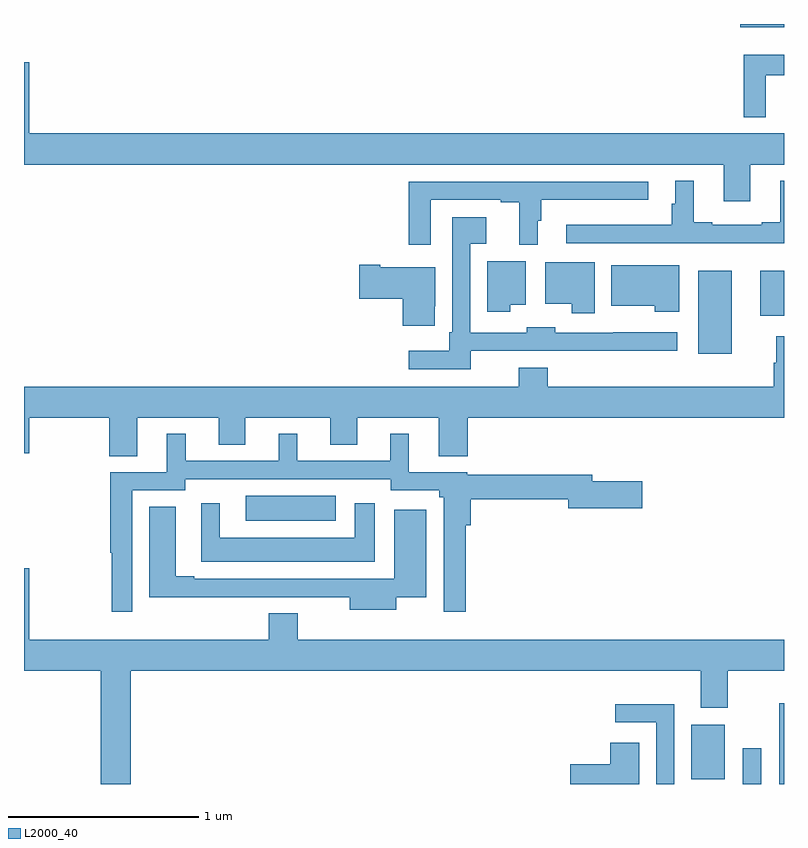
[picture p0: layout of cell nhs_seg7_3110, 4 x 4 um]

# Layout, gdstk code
import gdstk
lib = gdstk.Library(unit=1e-6, precision=1e-09)
def R(c, l, rs):  # rectangles x0, y0, x1, y1
    for r in rs: c.add(gdstk.rectangle(r[:2], r[2:], *l))
def P(c, l, *ps):  # polygons
    for p in ps: c.add(gdstk.Polygon(p, *l))
L2000_40 = (2000, 40)

nhs_seg7_3110 = lib.new_cell('nhs_seg7_3110')
R(nhs_seg7_3110, L2000_40, [(312.783,1020,312.879,1020.187), (312.974,1020,313,1020.424), (312.512,1020.026,312.688,1020.313), (310.167,1021.385,310.642,1021.516), (312.548,1022.264,312.724,1022.701), (312.875,1022.465,313,1022.701), (312.77,1023.983,313,1024)])
P(nhs_seg7_3110, L2000_40, [(312.904,1023.729),(313,1023.729),(313,1023.838),(312.787,1023.838),(312.787,1023.509),(312.904,1023.509)],
  [(312.823,1023.26),(313,1023.26),(313,1023.424),(309.028,1023.424),(309.028,1023.799),(309,1023.799),(309,1023.26),(312.683,1023.26),(312.683,1023.066),(312.823,1023.066)],
  [(313,1023.175),(312.98,1023.175),(312.98,1022.956),(312.884,1022.956),(312.884,1022.943),(312.622,1022.943),(312.622,1022.956),(312.526,1022.956),(312.526,1023.175),(312.428,1023.175),(312.428,1023.054),(312.409,1023.054),(312.409,1022.944),(311.853,1022.944),(311.853,1022.847),(312.552,1022.847),(312.552,1022.846),(313,1022.846)],
  [(311.142,1023.075),(311.51,1023.075),(311.51,1023.063),(311.606,1023.063),(311.606,1022.838),(311.704,1022.838),(311.704,1022.964),(311.723,1022.964),(311.723,1023.074),(312.286,1023.074),(312.286,1023.171),(311.026,1023.171),(311.026,1022.838),(311.142,1022.838)],
  [(311.352,1022.279),(312.439,1022.279),(312.439,1022.377),(312.1,1022.377),(312.1,1022.376),(311.796,1022.376),(311.796,1022.404),(311.646,1022.404),(311.646,1022.376),(311.349,1022.376),(311.349,1022.843),(311.434,1022.843),(311.434,1022.983),(311.253,1022.983),(311.253,1022.377),(311.237,1022.377),(311.237,1022.281),(311.025,1022.281),(311.025,1022.184),(311.352,1022.184)],
  [(311.56,1022.522),(311.641,1022.522),(311.641,1022.752),(311.438,1022.752),(311.438,1022.486),(311.56,1022.486)],
  [(312.004,1022.746),(311.744,1022.746),(311.744,1022.528),(311.882,1022.528),(311.882,1022.478),(312.004,1022.478)],
  [(311.163,1022.515),(311.164,1022.515),(311.164,1022.719),(310.876,1022.719),(310.876,1022.732),(310.764,1022.732),(310.764,1022.554),(310.994,1022.554),(310.994,1022.412),(311.163,1022.412)],
  [(312.448,1022.731),(312.092,1022.731),(312.092,1022.516),(312.319,1022.516),(312.319,1022.486),(312.448,1022.486)],
  [(309.595,1021.928),(310.025,1021.928),(310.025,1021.786),(310.165,1021.786),(310.165,1021.928),(310.613,1021.928),(310.613,1021.786),(310.753,1021.786),(310.753,1021.928),(311.183,1021.928),(311.183,1021.726),(311.336,1021.726),(311.336,1021.928),(313,1021.928),(313,1022.356),(312.959,1022.356),(312.959,1022.216),(312.947,1022.216),(312.947,1022.092),(311.756,1022.092),(311.756,1022.191),(311.603,1022.191),(311.603,1022.092),(309,1022.092),(309,1021.74),(309.028,1021.74),(309.028,1021.928),(309.448,1021.928),(309.448,1021.726),(309.595,1021.726)],
  [(309.57,1021.545),(309.849,1021.545),(309.849,1021.605),(310.929,1021.605),(310.929,1021.545),(311.186,1021.545),(311.186,1021.509),(311.208,1021.509),(311.208,1020.906),(311.324,1020.906),(311.324,1021.361),(311.351,1021.361),(311.351,1021.498),(311.864,1021.498),(311.864,1021.451),(312.253,1021.451),(312.253,1021.593),(311.992,1021.593),(311.992,1021.627),(311.334,1021.627),(311.334,1021.641),(311.026,1021.641),(311.026,1021.843),(310.928,1021.843),(310.928,1021.701),(310.438,1021.701),(310.438,1021.843),(310.34,1021.843),(310.34,1021.701),(309.85,1021.701),(309.85,1021.843),(309.752,1021.843),(309.752,1021.641),(309.454,1021.641),(309.454,1021.218),(309.462,1021.218),(309.462,1020.906),(309.57,1020.906)],
  [(310.846,1021.477),(310.742,1021.477),(310.742,1021.297),(310.03,1021.297),(310.03,1021.477),(309.932,1021.477),(309.932,1021.169),(310.846,1021.169)],
  [(310.96,1020.982),(311.116,1020.982),(311.116,1021.444),(310.949,1021.444),(310.949,1021.08),(309.895,1021.08),(309.895,1021.093),(309.799,1021.093),(309.799,1021.459),(309.659,1021.459),(309.659,1020.982),(310.205,1020.982),(310.205,1020.984),(310.715,1020.984),(310.715,1020.917),(310.96,1020.917)],
  [(309.563,1020.596),(312.563,1020.596),(312.563,1020.402),(312.703,1020.402),(312.703,1020.596),(313,1020.596),(313,1020.76),(310.441,1020.76),(310.441,1020.899),(310.289,1020.899),(310.289,1020.76),(309.028,1020.76),(309.028,1021.135),(309,1021.135),(309,1020.596),(309.403,1020.596),(309.403,1020),(309.563,1020)],
  [(312.423,1020.421),(312.111,1020.421),(312.111,1020.324),(312.327,1020.324),(312.327,1020),(312.423,1020)],
  [(312.238,1020.217),(312.086,1020.217),(312.086,1020.104),(311.874,1020.104),(311.874,1020),(312.238,1020)])

lib.write_gds('nhs_seg7_3110.gds')
